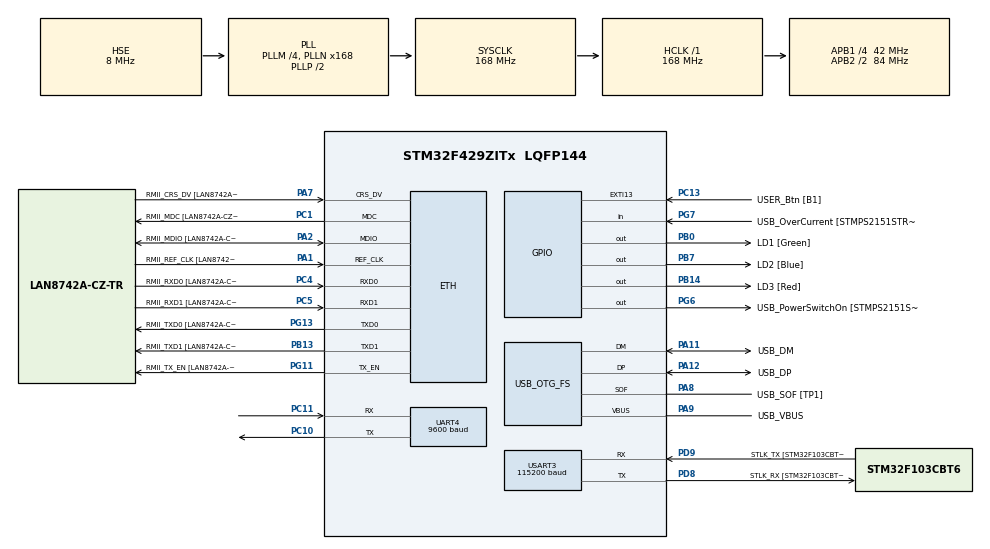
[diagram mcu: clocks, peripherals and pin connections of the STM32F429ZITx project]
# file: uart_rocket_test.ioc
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ETH.MediaInterface=HAL_ETH_RMII_MODE
ETH.PHY_Name=LAN8742A_PHY_ADDRESS
ETH.PHY_Value=0
ETH.PhyAddress=0
Mcu.Family=STM32F4
Mcu.Name=STM32F429ZITx
Mcu.Package=LQFP144
NVIC.PriorityGroup=NVIC_PRIORITYGROUP_4
PA1.GPIO_Label=RMII_REF_CLK [LAN8742A-CZ-TR_REFCLK0]
PA1.Mode=RMII
PA1.Signal=ETH_REF_CLK
PA10.GPIO_Label=USB_ID
PA10.Signal=USB_OTG_FS_ID
PA11.GPIO_Label=USB_DM
PA11.Mode=Device_Only
PA11.Signal=USB_OTG_FS_DM
PA12.GPIO_Label=USB_DP
PA12.Mode=Device_Only
PA12.Signal=USB_OTG_FS_DP
PA13.GPIO_Label=TMS
PA13.Mode=Serial_Wire
PA13.Signal=SYS_JTMS-SWDIO
PA14.GPIO_Label=TCK
PA14.Mode=Serial_Wire
PA14.Signal=SYS_JTCK-SWCLK
PA2.GPIO_Label=RMII_MDIO [LAN8742A-CZ-TR_MDIO]
PA2.Mode=RMII
PA2.Signal=ETH_MDIO
PA7.GPIO_Label=RMII_CRS_DV [LAN8742A-CZ-TR_CRS_DV]
PA7.Mode=RMII
PA7.Signal=ETH_CRS_DV
PA8.GPIO_Label=USB_SOF [TP1]
PA8.Mode=Activate_SOF_FS
PA8.Signal=USB_OTG_FS_SOF
PA9.GPIO_Label=USB_VBUS
PA9.Mode=Activate_VBUS
PA9.Signal=USB_OTG_FS_VBUS
PB0.GPIO_Label=LD1 [Green]
PB0.Signal=GPIO_Output
PB13.GPIO_Label=RMII_TXD1 [LAN8742A-CZ-TR_TXD1]
PB13.Mode=RMII
PB13.Signal=ETH_TXD1
PB14.GPIO_Label=LD3 [Red]
PB14.Signal=GPIO_Output
PB7.GPIO_Label=LD2 [Blue]
PB7.Signal=GPIO_Output
PC1.GPIO_Label=RMII_MDC [LAN8742A-CZ-TR_MDC]
PC1.Mode=RMII
PC1.Signal=ETH_MDC
PC10.Mode=Asynchronous
PC10.Signal=UART4_TX
PC11.Mode=Asynchronous
PC11.Signal=UART4_RX
PC13.GPIO_Label=USER_Btn [B1]
PC13.Signal=GPXTI13
PC14/OSC32_IN.Mode=LSE-External-Oscillator
PC14/OSC32_IN.Signal=RCC_OSC32_IN
PC15/OSC32_OUT.Mode=LSE-External-Oscillator
PC15/OSC32_OUT.Signal=RCC_OSC32_OUT
PC4.GPIO_Label=RMII_RXD0 [LAN8742A-CZ-TR_RXD0]
PC4.Mode=RMII
PC4.Signal=ETH_RXD0
PC5.GPIO_Label=RMII_RXD1 [LAN8742A-CZ-TR_RXD1]
PC5.Mode=RMII
PC5.Signal=ETH_RXD1
PD8.GPIO_Label=STLK_RX [STM32F103CBT6_PA3]
PD8.Mode=Asynchronous
PD8.Signal=USART3_TX
PD9.GPIO_Label=STLK_TX [STM32F103CBT6_PA2]
PD9.Mode=Asynchronous
PD9.Signal=USART3_RX
PG11.GPIO_Label=RMII_TX_EN [LAN8742A-CZ-TR_TXEN]
PG11.Mode=RMII
PG11.Signal=ETH_TX_EN
PG13.GPIO_Label=RMII_TXD0 [LAN8742A-CZ-TR_TXD0]
PG13.Mode=RMII
PG13.Signal=ETH_TXD0
PG6.GPIO_Label=USB_PowerSwitchOn [STMPS2151STR_EN]
PG6.Signal=GPIO_Output
PG7.GPIO_Label=USB_OverCurrent [STMPS2151STR_FAULT]
PG7.Signal=GPIO_Input
PH0/OSC_IN.GPIO_Label=MCO [STM32F103CBT6_PA8]
PH0/OSC_IN.Mode=HSE-External-Clock-Source
PH0/OSC_IN.Signal=RCC_OSC_IN
PH1/OSC_OUT.Mode=HSE-External-Clock-Source
PH1/OSC_OUT.Signal=RCC_OSC_OUT
ProjectManager.HeapSize=0x200
ProjectManager.StackSize=0x400
ProjectManager.TargetToolchain=STM32CubeIDE
RCC.48MHZClocksFreq_Value=48000000
RCC.AHBFreq_Value=168000000
RCC.APB1CLKDivider=RCC_HCLK_DIV4
RCC.APB1Freq_Value=42000000
RCC.APB1TimFreq_Value=84000000
RCC.APB2CLKDivider=RCC_HCLK_DIV2
RCC.APB2Freq_Value=84000000
RCC.APB2TimCLKDivider=2
RCC.APB2TimFreq_Value=168000000
RCC.CortexFreq_Value=168000000
RCC.HCLKFreq_Value=168000000
RCC.HSE_VALUE=8000000
RCC.HSI_VALUE=16000000
RCC.PLLM=4
RCC.PLLMUL=RCC_PLL_MUL9
RCC.PLLN=168
RCC.PLLQ=7
RCC.PRESCALERUSB=RCC_USBCLKSOURCE_PLL_DIV1_5
RCC.SYSCLKFreq_VALUE=168000000
RCC.SYSCLKSource=RCC_SYSCLKSOURCE_PLLCLK
RCC.SYSCLKSourceVirtual=RCC_SYSCLKSOURCE_PLLCLK
RCC.USBFreq_Value=48000000
RCC.VCOOutputFreq_Value=336000000
UART4.BaudRate=9600
UART4.VirtualMode=Asynchronous
USART3.BaudRate=115200
USART3.VirtualMode=VM_ASYNC
USB_OTG_FS.VirtualMode=Device_Only
board=NUCLEO-F429ZI

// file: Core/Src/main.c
/* USER CODE BEGIN Header */
/**
  ******************************************************************************
  * @file           : main.c
  * @brief          : Main program body
  ******************************************************************************
  * @attention
  *
  * Copyright (c) 2024 STMicroelectronics.
  * All rights reserved.
  *
  * This software is licensed under terms that can be found in the LICENSE file
  * in the root directory of this software component.
  * If no LICENSE file comes with this software, it is provided AS-IS.
  *
  ******************************************************************************
  */
/* USER CODE END Header */
#include "main.h"
#include "string.h"

/* USER CODE BEGIN Includes */
#include <stdio.h>
/* USER CODE END Includes */

ETH_TxPacketConfig TxConfig;
ETH_DMADescTypeDef  DMARxDscrTab[ETH_RX_DESC_CNT]; /* Ethernet Rx DMA Descriptors */
ETH_DMADescTypeDef  DMATxDscrTab[ETH_TX_DESC_CNT]; /* Ethernet Tx DMA Descriptors */

ETH_HandleTypeDef heth;

UART_HandleTypeDef huart4;
UART_HandleTypeDef huart3;

PCD_HandleTypeDef hpcd_USB_OTG_FS;

/* USER CODE BEGIN PV */

char message[14] = "1A;19419;4.23;";
char send_message[27] = "";
uint8_t altitude = 0;
uint8_t time = 0;
char help[5] = "";
/* USER CODE END PV */

void SystemClock_Config(void);
static void MX_GPIO_Init(void);
static void MX_ETH_Init(void);
static void MX_UART4_Init(void);
static void MX_USART3_UART_Init(void);
static void MX_USB_OTG_FS_PCD_Init(void);

int main(void)
{

  /* MCU Configuration--------------------------------------------------------*/

  /* Reset of all peripherals, Initializes the Flash interface and the Systick. */
  HAL_Init();

  /* Configure the system clock */
  SystemClock_Config();

  /* Initialize all configured peripherals */
  MX_GPIO_Init();
  MX_ETH_Init();
  MX_UART4_Init();
  MX_USART3_UART_Init();
  MX_USB_OTG_FS_PCD_Init();

  /* Infinite loop */
  /* USER CODE BEGIN WHILE */
  while (1)
  {
	  if (altitude < 250)
		  altitude += 1;
	  else
		  altitude = 0;
	  if (time == 200)
		  time = 0;
	  else
		  time += 1;;

	  sprintf(send_message, "1A;%u;4.23;%u.25;A;0;0;0\n", time, altitude);
	  //sprintf(help, "HELLO");
	  //printf("\"%s\"",send_message);
	  HAL_UART_Transmit(&huart3, (uint8_t*)send_message, strlen(send_message), 200);
	  //HAL_UART_Transmit(&huart3, (uint8_t*)"Hello World\n", 12, 1000);
	  HAL_Delay(20);
    /* USER CODE END WHILE */

  }
}

void SystemClock_Config(void)
{
  RCC_OscInitTypeDef RCC_OscInitStruct = {0};
  RCC_ClkInitTypeDef RCC_ClkInitStruct = {0};

  /** Configure the main internal regulator output voltage
  */
  __HAL_RCC_PWR_CLK_ENABLE();
  __HAL_PWR_VOLTAGESCALING_CONFIG(PWR_REGULATOR_VOLTAGE_SCALE1);

  /** Initializes the RCC Oscillators according to the specified parameters
  * in the RCC_OscInitTypeDef structure.
  */
  RCC_OscInitStruct.OscillatorType = RCC_OSCILLATORTYPE_HSE;
  RCC_OscInitStruct.HSEState = RCC_HSE_BYPASS;
  RCC_OscInitStruct.PLL.PLLState = RCC_PLL_ON;
  RCC_OscInitStruct.PLL.PLLSource = RCC_PLLSOURCE_HSE;
  RCC_OscInitStruct.PLL.PLLM = 4;
  RCC_OscInitStruct.PLL.PLLN = 168;
  RCC_OscInitStruct.PLL.PLLP = RCC_PLLP_DIV2;
  RCC_OscInitStruct.PLL.PLLQ = 7;
  if (HAL_RCC_OscConfig(&RCC_OscInitStruct) != HAL_OK)
  {
    Error_Handler();
  }

  /** Initializes the CPU, AHB and APB buses clocks
  */
  RCC_ClkInitStruct.ClockType = RCC_CLOCKTYPE_HCLK|RCC_CLOCKTYPE_SYSCLK
                              |RCC_CLOCKTYPE_PCLK1|RCC_CLOCKTYPE_PCLK2;
  RCC_ClkInitStruct.SYSCLKSource = RCC_SYSCLKSOURCE_PLLCLK;
  RCC_ClkInitStruct.AHBCLKDivider = RCC_SYSCLK_DIV1;
  RCC_ClkInitStruct.APB1CLKDivider = RCC_HCLK_DIV4;
  RCC_ClkInitStruct.APB2CLKDivider = RCC_HCLK_DIV2;

  if (HAL_RCC_ClockConfig(&RCC_ClkInitStruct, FLASH_LATENCY_5) != HAL_OK)
  {
    Error_Handler();
  }
}

static void MX_ETH_Init(void)
{

   static uint8_t MACAddr[6];

  heth.Instance = ETH;
  MACAddr[0] = 0x00;
  MACAddr[1] = 0x80;
  MACAddr[2] = 0xE1;
  MACAddr[3] = 0x00;
  MACAddr[4] = 0x00;
  MACAddr[5] = 0x00;
  heth.Init.MACAddr = &MACAddr[0];
  heth.Init.MediaInterface = HAL_ETH_RMII_MODE;
  heth.Init.TxDesc = DMATxDscrTab;
  heth.Init.RxDesc = DMARxDscrTab;
  heth.Init.RxBuffLen = 1524;

  if (HAL_ETH_Init(&heth) != HAL_OK)
  {
    Error_Handler();
  }

  memset(&TxConfig, 0 , sizeof(ETH_TxPacketConfig));
  TxConfig.Attributes = ETH_TX_PACKETS_FEATURES_CSUM | ETH_TX_PACKETS_FEATURES_CRCPAD;
  TxConfig.ChecksumCtrl = ETH_CHECKSUM_IPHDR_PAYLOAD_INSERT_PHDR_CALC;
  TxConfig.CRCPadCtrl = ETH_CRC_PAD_INSERT;

}

static void MX_UART4_Init(void)
{

  huart4.Instance = UART4;
  huart4.Init.BaudRate = 9600;
  huart4.Init.WordLength = UART_WORDLENGTH_8B;
  huart4.Init.StopBits = UART_STOPBITS_1;
  huart4.Init.Parity = UART_PARITY_NONE;
  huart4.Init.Mode = UART_MODE_TX_RX;
  huart4.Init.HwFlowCtl = UART_HWCONTROL_NONE;
  huart4.Init.OverSampling = UART_OVERSAMPLING_16;
  if (HAL_UART_Init(&huart4) != HAL_OK)
  {
    Error_Handler();
  }

}

static void MX_USART3_UART_Init(void)
{

  huart3.Instance = USART3;
  huart3.Init.BaudRate = 115200;
  huart3.Init.WordLength = UART_WORDLENGTH_8B;
  huart3.Init.StopBits = UART_STOPBITS_1;
  huart3.Init.Parity = UART_PARITY_NONE;
  huart3.Init.Mode = UART_MODE_TX_RX;
  huart3.Init.HwFlowCtl = UART_HWCONTROL_NONE;
  huart3.Init.OverSampling = UART_OVERSAMPLING_16;
  if (HAL_UART_Init(&huart3) != HAL_OK)
  {
    Error_Handler();
  }

}

static void MX_USB_OTG_FS_PCD_Init(void)
{

  hpcd_USB_OTG_FS.Instance = USB_OTG_FS;
  hpcd_USB_OTG_FS.Init.dev_endpoints = 4;
  hpcd_USB_OTG_FS.Init.speed = PCD_SPEED_FULL;
  hpcd_USB_OTG_FS.Init.dma_enable = DISABLE;
  hpcd_USB_OTG_FS.Init.phy_itface = PCD_PHY_EMBEDDED;
  hpcd_USB_OTG_FS.Init.Sof_enable = ENABLE;
  hpcd_USB_OTG_FS.Init.low_power_enable = DISABLE;
  hpcd_USB_OTG_FS.Init.lpm_enable = DISABLE;
  hpcd_USB_OTG_FS.Init.vbus_sensing_enable = ENABLE;
  hpcd_USB_OTG_FS.Init.use_dedicated_ep1 = DISABLE;
  if (HAL_PCD_Init(&hpcd_USB_OTG_FS) != HAL_OK)
  {
    Error_Handler();
  }

}

static void MX_GPIO_Init(void)
{
  GPIO_InitTypeDef GPIO_InitStruct = {0};

  /* GPIO Ports Clock Enable */
  __HAL_RCC_GPIOC_CLK_ENABLE();
  __HAL_RCC_GPIOH_CLK_ENABLE();
  __HAL_RCC_GPIOA_CLK_ENABLE();
  __HAL_RCC_GPIOB_CLK_ENABLE();
  __HAL_RCC_GPIOD_CLK_ENABLE();
  __HAL_RCC_GPIOG_CLK_ENABLE();

  /*Configure GPIO pin Output Level */
  HAL_GPIO_WritePin(GPIOB, LD1_Pin|LD3_Pin|LD2_Pin, GPIO_PIN_RESET);

  /*Configure GPIO pin Output Level */
  HAL_GPIO_WritePin(USB_PowerSwitchOn_GPIO_Port, USB_PowerSwitchOn_Pin, GPIO_PIN_RESET);

  /*Configure GPIO pin : USER_Btn_Pin */
  GPIO_InitStruct.Pin = USER_Btn_Pin;
  GPIO_InitStruct.Mode = GPIO_MODE_IT_RISING;
  GPIO_InitStruct.Pull = GPIO_NOPULL;
  HAL_GPIO_Init(USER_Btn_GPIO_Port, &GPIO_InitStruct);

  /*Configure GPIO pins : LD1_Pin LD3_Pin LD2_Pin */
  GPIO_InitStruct.Pin = LD1_Pin|LD3_Pin|LD2_Pin;
  GPIO_InitStruct.Mode = GPIO_MODE_OUTPUT_PP;
  GPIO_InitStruct.Pull = GPIO_NOPULL;
  GPIO_InitStruct.Speed = GPIO_SPEED_FREQ_LOW;
  HAL_GPIO_Init(GPIOB, &GPIO_InitStruct);

  /*Configure GPIO pin : USB_PowerSwitchOn_Pin */
  GPIO_InitStruct.Pin = USB_PowerSwitchOn_Pin;
  GPIO_InitStruct.Mode = GPIO_MODE_OUTPUT_PP;
  GPIO_InitStruct.Pull = GPIO_NOPULL;
  GPIO_InitStruct.Speed = GPIO_SPEED_FREQ_LOW;
  HAL_GPIO_Init(USB_PowerSwitchOn_GPIO_Port, &GPIO_InitStruct);

  /*Configure GPIO pin : USB_OverCurrent_Pin */
  GPIO_InitStruct.Pin = USB_OverCurrent_Pin;
  GPIO_InitStruct.Mode = GPIO_MODE_INPUT;
  GPIO_InitStruct.Pull = GPIO_NOPULL;
  HAL_GPIO_Init(USB_OverCurrent_GPIO_Port, &GPIO_InitStruct);

}

void Error_Handler(void)
{
  __disable_irq();
  while (1)
  {
  }
}
